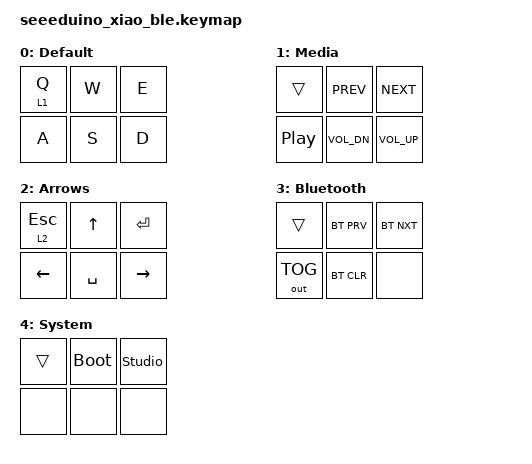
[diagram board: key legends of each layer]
/*
 * Copyright (c) 2025 The ZMK Contributors
 *
 * SPDX-License-Identifier: MIT
 */

#include <behaviors.dtsi>
#include <dt-bindings/zmk/keys.h>
#include <dt-bindings/zmk/bt.h>
#include <dt-bindings/zmk/outputs.h>

/ {
    combos {
        compatible = "zmk,combos";
        combo_tog_layer {
            key-positions = <1 4>;
            timeout-ms = <50>;
            bindings = <&tog 3>;
        };
        combo_tog_sys {
            key-positions = <1 3 5>;
            timeout-ms = <50>;
            bindings = <&tog 3>;
            layers = <0>;
        };
        combo_arrow_down {
            key-positions = <3 5>;
            timeout-ms = <50>;
            bindings = <&kp DOWN>;
            layers = <3>;
        };

    };

    keymap {
        compatible = "zmk,keymap";

        default_layer {
            label = "Default";
            bindings = <
                &lt 1 Q     &kp W     &kp E
                &kp A       &kp S     &kp D
            >;
        };

        media_layer {
            label = "Media";
            bindings = <
                &trans      &kp C_PREV     &kp C_NEXT
                &kp C_PP    &kp C_VOL_DN   &kp C_VOL_UP

            >;
        };

        arrows_layer {
            label = "Arrows";
            bindings = <
                &lt 2 ESC  &kp UP     &kp RET
                &kp LEFT   &kp SPACE  &kp RIGHT
            >;
        };

        bluetooth_layer {
            label = "Bluetooth";
            bindings = <
                &trans        &bt BT_PRV    &bt BT_NXT
                &out OUT_TOG  &bt BT_CLR    &none
            >;
        };

        system_layer {
            label = "System";
            bindings = <
                &trans &bootloader &studio_unlock
                &none  &none       &none
            >;
        };

        extra1 {
            status = "reserved";
        };

        extra2 {
            status = "reserved";
        };
    };
};
